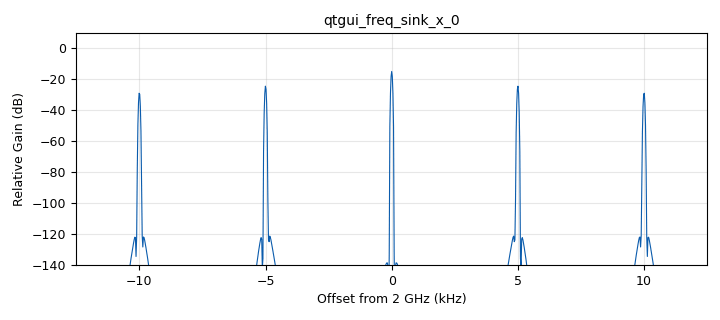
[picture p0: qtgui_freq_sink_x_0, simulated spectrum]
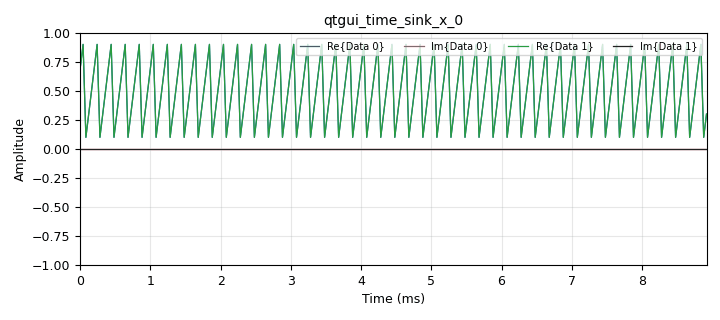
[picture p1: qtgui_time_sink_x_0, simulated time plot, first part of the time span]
options:
  parameters:
    generate_options: qt_gui
    id: am_modulator
    output_language: python
    title: modulacion am
  states: {}

blocks:
- name: samp_rate
  id: variable
  parameters:
    value: '25000'
  states: {}
- name: analog_const_source_x_0
  id: analog_const_source_x
  parameters:
    const: '0'
    type: float
  states: {}
- name: analog_sig_source_x_0
  id: analog_sig_source_x
  parameters:
    amp: '1'
    freq: '5000'
    offset: '0'
    phase: '0'
    samp_rate: samp_rate
    type: float
    waveform: analog.GR_SAW_WAVE
  states: {}
- name: blocks_float_to_complex_0
  id: blocks_float_to_complex
  parameters: {}
  states: {}
- name: blocks_throttle_0
  id: blocks_throttle
  parameters:
    samples_per_second: samp_rate
    type: complex
  states: {}
- name: blocks_throttle_0_0
  id: blocks_throttle
  parameters:
    samples_per_second: samp_rate
    type: complex
  states: {}
- name: qtgui_freq_sink_x_0
  id: qtgui_freq_sink_x
  parameters:
    bw: samp_rate
    fc: '2000000000'
    fftsize: '1024'
    type: complex
  states: {}
- name: qtgui_freq_sink_x_0_0
  id: qtgui_freq_sink_x
  parameters:
    bw: samp_rate
    fc: '2000000000'
    fftsize: '1024'
    type: complex
  states: {}
- name: qtgui_time_sink_x_0
  id: qtgui_time_sink_x
  parameters:
    nconnections: '2'
    size: '1024'
    srate: samp_rate
    type: complex
  states: {}
- name: uhd_usrp_sink_0
  id: uhd_usrp_sink
  parameters:
    ant0: '"TX/RX"'
    center_freq0: '20000000000'
    gain0: '0'
    samp_rate: samp_rate
    sync: sync
    type: fc32
  states: {state: disabled}
- name: uhd_usrp_source_0
  id: uhd_usrp_source
  parameters:
    ant0: '"RX2"'
    center_freq0: '0'
    dc_offs_enb0: '""'
    gain0: '0'
    iq_imbal_enb0: '""'
    samp_rate: samp_rate
    sync: sync
    type: fc32
  states: {}

connections:
- [analog_const_source_x_0, '0', blocks_float_to_complex_0, '1']
- [analog_sig_source_x_0, '0', blocks_float_to_complex_0, '0']
- [blocks_float_to_complex_0, '0', blocks_throttle_0, '0']
- [blocks_float_to_complex_0, '0', qtgui_time_sink_x_0, '0']
- [blocks_throttle_0, '0', qtgui_freq_sink_x_0, '0']
- [blocks_throttle_0, '0', qtgui_time_sink_x_0, '1']
- [blocks_throttle_0, '0', uhd_usrp_sink_0, '0']
- [blocks_throttle_0_0, '0', qtgui_freq_sink_x_0_0, '0']
- [uhd_usrp_source_0, '0', blocks_throttle_0_0, '0']

metadata:
  file_format: 1
